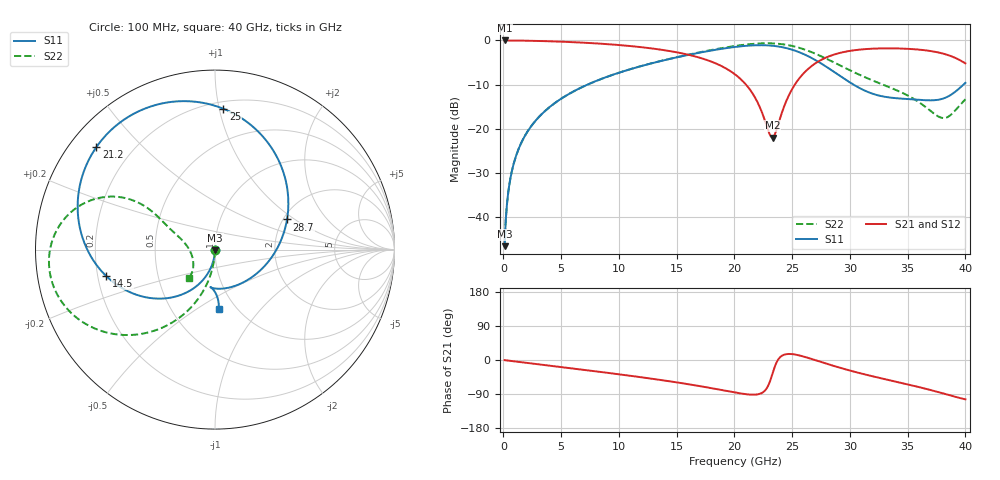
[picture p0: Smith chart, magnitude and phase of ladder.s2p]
# Hz S RI R 50
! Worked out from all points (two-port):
!   400 points, 100 MHz to 40 GHz, reference 50 ohm
!   highest |S21| = 0.00 dB at 100 MHz (marker M1); lowest = -21.9 dB at 23.3 GHz (marker M2)
!   |S21| within 3 dB of the highest: start of sweep to 15.62 GHz; 28.87 GHz to 38.11 GHz (9.243 GHz wide, 27.6 % of centre)
!   lowest |S11| = -46.5 dB at 100 MHz (marker M3), VSWR 1.01, Z = 50 - j0.473 ohm
!   |S11| at or under -10 dB: start of sweep to 7.26 GHz; 30.32 GHz to 39.83 GHz (9.504 GHz wide, 27.1 % of centre)
!   |S22| runs from -46.5 to -0.6 dB; largest |S21 - S12| = 0
!   S11 on the Smith chart (normalised r, x): 100 MHz: 1.00, -0.01; 14.5 GHz: 0.24, -0.11; 21.2 GHz: 0.08, +0.37; 25 GHz: 0.25, +1.03; 28.7 GHz: 2.10, +0.87; 40 GHz: 0.83, -0.62
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1e8  -0.000151 -0.00473  0.9998 -0.00684  0.9998 -0.00684  -0.000132 -0.00473
2e8  -0.000394 -0.00936  0.9996 -0.0135  0.9996 -0.0135  -0.000321 -0.00936
3e8  -0.000717 -0.0139  0.9993 -0.0202  0.9993 -0.0202  -0.000555 -0.0139
5e8  -0.0016 -0.023  0.9985 -0.0334  0.9985 -0.0334  -0.00115 -0.023
9e8  -0.00427 -0.0408  0.9961 -0.0596  0.9961 -0.0596  -0.00284 -0.041
1.6e9  -0.0118 -0.0712  0.9897 -0.1047  0.9897 -0.1047  -0.00734 -0.0718
3.6e9  -0.0523 -0.1508  0.9554 -0.2287  0.9554 -0.2287  -0.0306 -0.1565
6.8e9  -0.1691 -0.2438  0.8545 -0.4054  0.8545 -0.4054  -0.098 -0.2796
1.34e10  -0.5396 -0.201  0.4916 -0.6243  0.4916 -0.6243  -0.353 -0.4564
1.45e10  -0.6046 -0.1488  0.4143 -0.631  0.4143 -0.631  -0.412 -0.4698
1.78e10  -0.7522 0.1183  0.1707 -0.5646  0.1707 -0.5646  -0.6213 -0.4571
2.01e10  -0.7387 0.4122  0.0288 -0.4082  0.0288 -0.4082  -0.7866 -0.3665
2.12e10  -0.6613 0.5706  -0.00448 -0.2947  -0.00448 -0.2947  -0.8583 -0.2848
2.33e10  -0.3332 0.8049  0.0649 -0.0468  0.0649 -0.0468  -0.9249 -0.0529
2.5e10  0.047 0.7847  0.2722 0.0754  0.2722 0.0754  -0.8527 0.1542
2.67e10  0.3335 0.5368  0.5149 0.0233  0.5149 0.0233  -0.682 0.2781
2.87e10  0.4014 0.1679  0.6687 -0.1983  0.6687 -0.1983  -0.4813 0.2823
3.09e10  0.2693 -0.0989  0.6461 -0.4532  0.6461 -0.4532  -0.347 0.2095
3.34e10  0.0872 -0.2096  0.4882 -0.6519  0.4882 -0.6519  -0.2661 0.1309
3.59e10  -0.0169 -0.2129  0.2587 -0.7458  0.2587 -0.7458  -0.1936 0.0633
3.8e10  -0.0137 -0.2185  0.0297 -0.7136  0.0297 -0.7136  -0.1297 -0.0306
4e10  0.0213 -0.331  -0.1309 -0.535  -0.1309 -0.535  -0.1474 -0.1591
